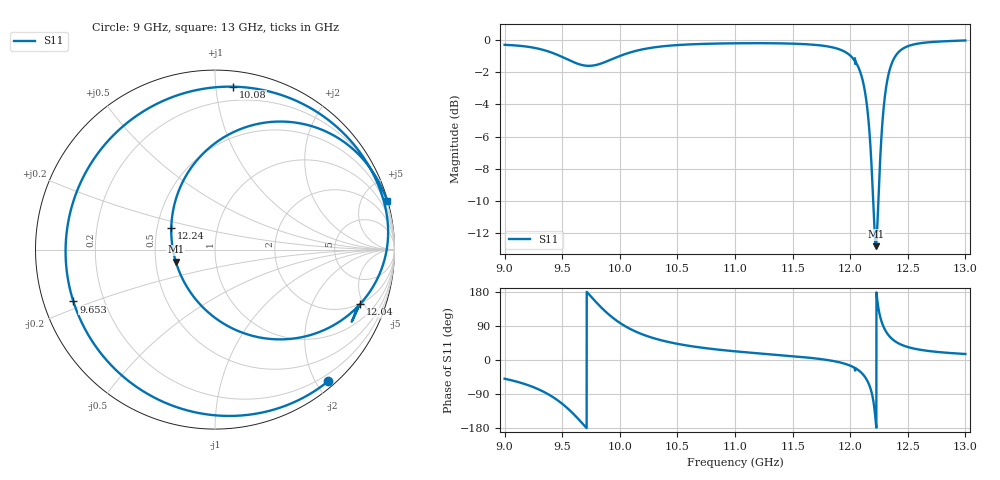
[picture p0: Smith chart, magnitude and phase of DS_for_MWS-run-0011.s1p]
! TOUCHSTONE file generated by CST DESIGN STUDIO
! Date and time: Tue Feb  4 14:27:54 2025
! Project name: C:\Work\MatlabApps\UnitCellOptimizationMatlab\CST\unitcell.cst
! Tree item: Tasks\Sweep1\SPara1\S-Parameters
! Header version: 2024
! Port assignment regex: !\s*Touchstone port\s*([0-9]+)\s*=\s*(CST MWS port|CST DES external port|CST DES block port)\s*(.+)\s* \(\"(.*)\"\)(\s*mode\s*([0-9]+))?.*
! Touchstone port assignment:
! Touchstone port 1 = CST DES external port 1 ("")
# GHz S MA R 50
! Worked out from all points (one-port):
!   4001 points, 9 GHz to 13 GHz, reference 50 ohm
!   lowest |S11| = -12.8 dB at 12.22 GHz (marker M1), VSWR 1.59, Z = 31.8 - j4.5 ohm
!   |S11| at or under -10 dB: 12.19938 GHz to 12.24446 GHz (45.08 MHz wide, 0.369 % of centre)
!   S11 on the Smith chart (normalised r, x): 9 GHz: 0.10, -2.17; 9.653 GHz: 0.09, -0.18; 10.08 GHz: 0.10, +1.11; 12.04 GHz: 1.97, -4.72; 12.24 GHz: 0.59, +0.15; 13 GHz: 0.05, +7.19
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9  0.9672 -49.4
9.261  0.9461 -73.0
9.396  0.9182 -93.5
9.5  0.8867 -115.5
9.575  0.8617 -135.6
9.653  0.8404 -159.9
9.72  0.8322 177.5
9.788  0.8362 154.6
9.892  0.8607 123.4
10  0.8928 98.0
10.079  0.9133 83.7
10.267  0.9462 60.1
10.5  0.9655 42.7
11  0.9779 22.9
11.5  0.9754 10.1
11.81  0.9555 -0.4
12  0.8958 -14.9
12.038  0.8641 -20.6
12.103  0.7629 -35.4
12.158  0.5669 -60.7
12.19  0.3764 -90.7
12.222  0.2286 -162.9
12.237  0.2716 153.8
12.278  0.5448 96.3
12.318  0.7367 71.6
12.394  0.8938 48.4
12.5  0.9577 34.2
13  0.9979 15.8
